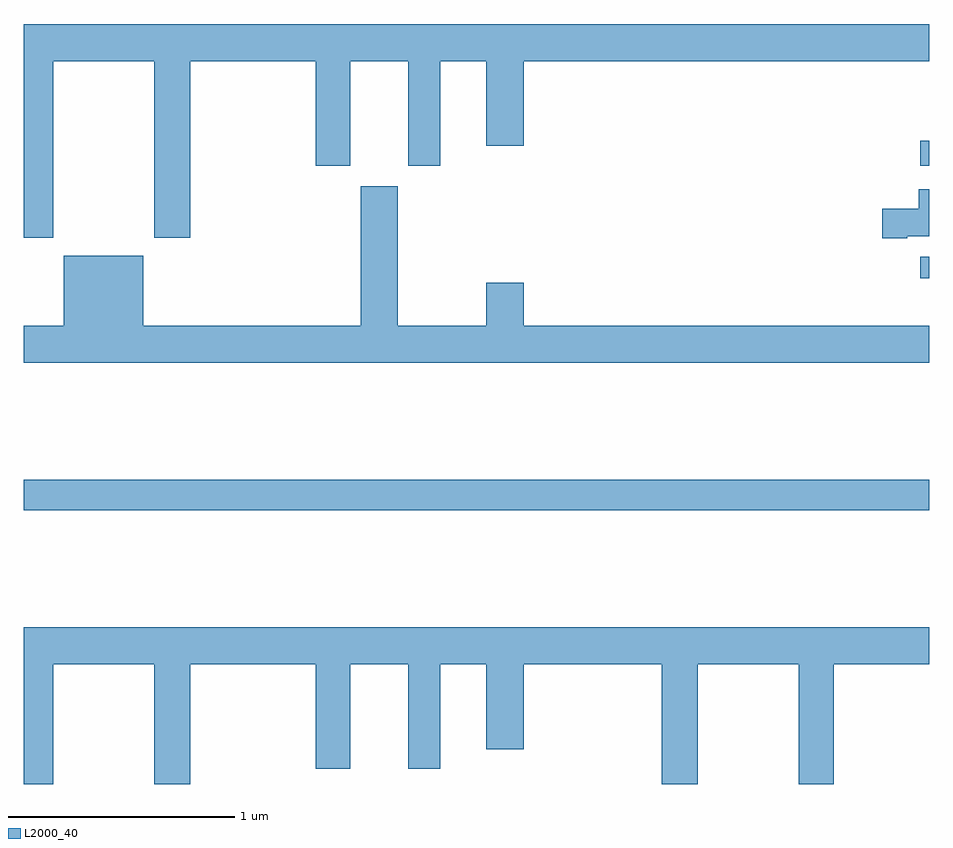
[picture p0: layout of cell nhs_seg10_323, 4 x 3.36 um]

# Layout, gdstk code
import gdstk
lib = gdstk.Library(unit=1e-6, precision=1e-09)
def R(c, l, rs):  # rectangles x0, y0, x1, y1
    for r in rs: c.add(gdstk.rectangle(r[:2], r[2:], *l))
def P(c, l, *ps):  # polygons
    for p in ps: c.add(gdstk.Polygon(p, *l))
L2000_40 = (2000, 40)

nhs_seg10_323 = lib.new_cell('nhs_seg10_323')
R(nhs_seg10_323, L2000_40, [(127,1255.708,131,1255.844), (130.959,1256.733,131,1256.829), (130.959,1257.231,131,1257.34)])
P(nhs_seg10_323, L2000_40, [(127.131,1257.692),(127.576,1257.692),(127.576,1256.913),(127.736,1256.913),(127.736,1257.692),(128.291,1257.692),(128.291,1257.231),(128.443,1257.231),(128.443,1257.692),(128.699,1257.692),(128.699,1257.231),(128.839,1257.231),(128.839,1257.692),(129.044,1257.692),(129.044,1257.318),(129.208,1257.318),(129.208,1257.692),(131,1257.692),(131,1257.856),(127,1257.856),(127,1256.913),(127.131,1256.913)],
  [(131,1256.524),(129.208,1256.524),(129.208,1256.713),(129.044,1256.713),(129.044,1256.524),(128.653,1256.524),(128.653,1257.139),(128.489,1257.139),(128.489,1256.524),(127.528,1256.524),(127.528,1256.833),(127.178,1256.833),(127.178,1256.524),(127,1256.524),(127,1256.36),(131,1256.36)],
  [(130.903,1256.918),(131,1256.918),(131,1257.127),(130.952,1257.127),(130.952,1257.04),(130.791,1257.04),(130.791,1256.911),(130.903,1256.911)],
  [(127.131,1255.028),(127.576,1255.028),(127.576,1254.5),(127.736,1254.5),(127.736,1255.028),(128.291,1255.028),(128.291,1254.567),(128.443,1254.567),(128.443,1255.028),(128.699,1255.028),(128.699,1254.567),(128.839,1254.567),(128.839,1255.028),(129.044,1255.028),(129.044,1254.654),(129.208,1254.654),(129.208,1255.028),(129.818,1255.028),(129.818,1254.5),(129.977,1254.5),(129.977,1255.028),(130.423,1255.028),(130.423,1254.5),(130.578,1254.5),(130.578,1255.028),(131,1255.028),(131,1255.192),(127,1255.192),(127,1254.5),(127.131,1254.5)])

lib.write_gds('nhs_seg10_323.gds')
